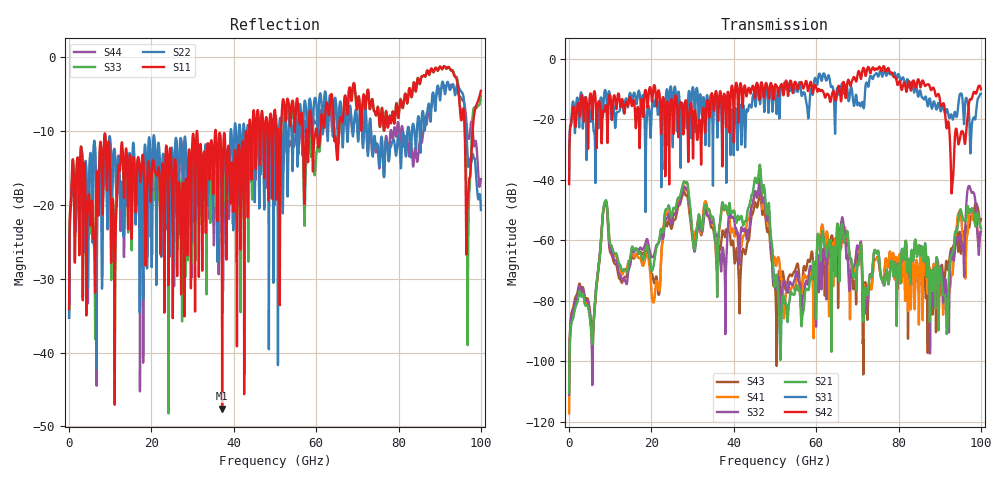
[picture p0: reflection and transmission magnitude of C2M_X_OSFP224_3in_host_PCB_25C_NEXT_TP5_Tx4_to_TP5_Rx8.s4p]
# GHz S RI R 45
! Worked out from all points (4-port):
!   4000 points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, 25 MHz to 100 GHz, reference 45 ohm
!   strongest paths, dB at 25 MHz, 25.02 GHz, 50.02 GHz, 75.03 GHz, 100 GHz:
!     S42: -41.5, -14.3, -8.6, -3.3, -10.1
!     S31: -39.7, -14.6, -10.1, -5.9, -11.6
!     S21: -110.5, -51.5, -74.2, -63.5, -56.2
!     S32: -111.3, -53.7, -75.1, -63.5, -57.1
!     S41: -117.3, -53.2, -66.5, -65.7, -58.2
!     S43: -107.7, -55.6, -74.8, -65.8, -53.1
!   lowest |S11| = -47.6 dB at 37.17 GHz (marker M1), VSWR 1.01, Z = 45.4 - j0.133 ohm
!   |S11| at or under -10 dB: start of sweep to 31.03 GHz; 31.1 GHz to 35.5 GHz (4.396 GHz wide, 13.2 % of centre); 35.65 GHz to 42.96 GHz (7.31 GHz wide, 18.6 % of centre)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
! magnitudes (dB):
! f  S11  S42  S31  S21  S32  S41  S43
! 25 MHz  -34.1  -41.5  -39.7  -110.5  -111.3  -117.3  -107.7
! 8.775 GHz  -10.4  -16.0  -10.3  -47.1  -47.3  -47.4  -47.7
! 20.48 GHz  -14.0  -9.9  -14.1  -68.9  -65.5  -80.6  -73.2
! 37.17 GHz  -47.6  -26.3  -35.5  -47.6  -64.0  -48.7  -57.4
! 46.27 GHz  -13.2  -13.0  -13.9  -35.2  -40.3  -39.7  -44.0
! 51.38 GHz  -12.8  -8.8  -10.2  -98.6  -83.6  -71.9  -76.7
! 100 GHz  -4.5  -10.1  -11.6  -56.2  -57.1  -58.2  -53.1
